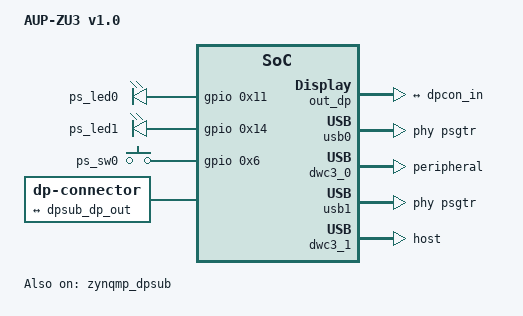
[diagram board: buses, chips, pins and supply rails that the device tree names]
/* AUP-ZU3 board-specific device-tree nodes (appended to the SDT base dts). */

/ {
	model = "AUP-ZU3 v1.0";

	reserved-memory {
		#address-cells = <2>;
		#size-cells = <2>;
		ranges;
		linux,cma {
			compatible = "shared-dma-pool";
			reusable;
			size = <0x0 0x20000000>;
			alignment = <0x0 0x2000>;
			alloc-ranges = <0x0 0x0 0x0 0x80000000>;
			linux,cma-default;
		};
	};

	dp_clk: psgtr_dp_clock {
		compatible = "fixed-clock";
		#clock-cells = <0x00>;
		clock-frequency = <27000000>;
	};

	usb_clk: psgtr_usb_clock {
		compatible = "fixed-clock";
		#clock-cells = <0x00>;
		clock-frequency = <100000000>;
	};

	leds {
		compatible = "gpio-leds";

		ps_led0 {
			label = "ps_led0";
			gpios = <&gpio 0x11 0x0>;
			linux,default-trigger = "heartbeat";
		};

		ps_led1 {
			label = "ps_led1";
			gpios = <&gpio 0x14 0x0>;
			default-state = "on";
		};
	};

	gpio-keys {
		compatible = "gpio-keys";
		autorepeat;

		ps_sw0 {
			label = "ps_sw0";
			gpios = <&gpio 0x6 0x0>;
			linux,code = <0x74>;
			gpio-key,wakeup;
		};
	};

	dpcon {
		compatible = "dp-connector";
		label = "DP";
		type = "full-size";

		port {
			dpcon_in: endpoint {
				remote-endpoint = <&dpsub_dp_out>;
			};
		};
	};
};

&sdhci0 {
	no-1-8-v;
	disable-wp;
};

&psgtr {
	/* dp 0-1, usb0, usb1 */
	clocks = <&dp_clk>, <&usb_clk>;
	clock-names = "ref0", "ref1";
};

&zynqmp_dpsub {
	status = "okay";
	phys = <&psgtr 1 6 0 0>, <&psgtr 0 6 1 0>;
	phy-names = "dp-phy0", "dp-phy1";
};

&out_dp {
	dpsub_dp_out: endpoint {
		remote-endpoint = <&dpcon_in>;
	};
};

&usb0 {
	status = "okay";
	phys = <&psgtr 2 4 0 1>;
	phy-names = "usb3-phy";
};

&dwc3_0 {
	status = "okay";
	dr_mode = "peripheral";
	label = "USB Gadget";
	maximum-speed = "super-speed";
	snps,usb2-lpm-disable;
	snps,usb3_lpm_capable;
	snps,dis_u2_susphy_quirk;
	snps,dis_u3_susphy_quirk;
};

&usb1 {
	status = "okay";
	phys = <&psgtr 3 4 1 1>;
	phy-names = "usb3-phy";
};

&dwc3_1 {
	status = "okay";
	dr_mode = "host";
	label = "USB Hub";
	maximum-speed = "super-speed";
	snps,usb2-lpm-disable;
	snps,usb3_lpm_capable;
	snps,dis_u2_susphy_quirk;
	snps,dis_u3_susphy_quirk;
};
